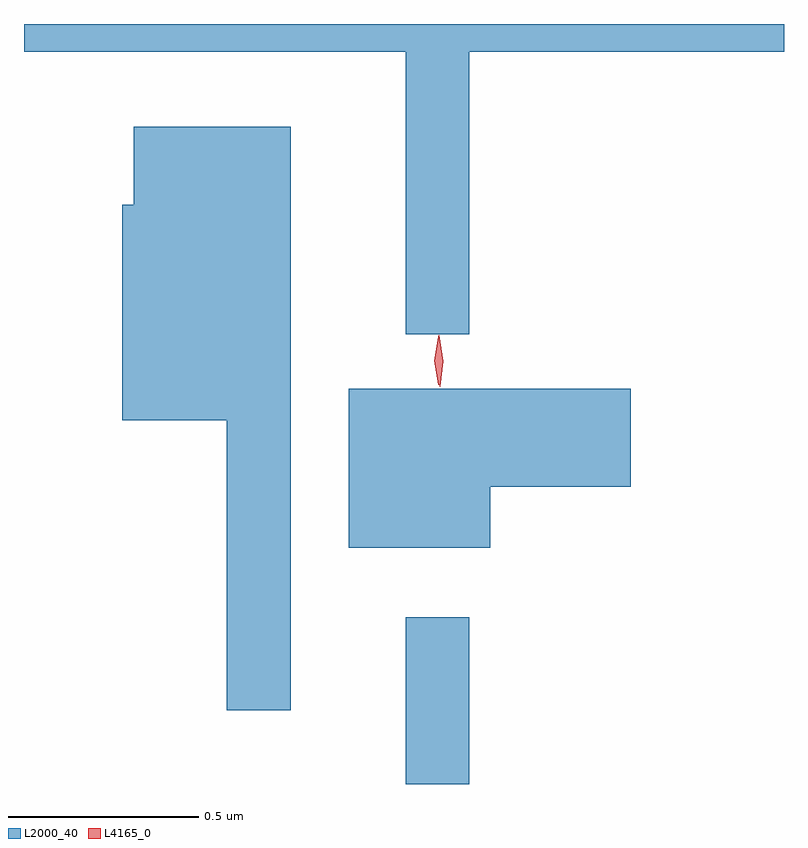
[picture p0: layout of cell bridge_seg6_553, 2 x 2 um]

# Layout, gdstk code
import gdstk
lib = gdstk.Library(unit=1e-6, precision=1e-09)
def R(c, l, rs):  # rectangles x0, y0, x1, y1
    for r in rs: c.add(gdstk.rectangle(r[:2], r[2:], *l))
def P(c, l, *ps):  # polygons
    for p in ps: c.add(gdstk.Polygon(p, *l))
L2000_40 = (2000, 40)
L4165_0 = (4165, 0)

bridge_seg6_553 = lib.new_cell('bridge_seg6_553')
R(bridge_seg6_553, L2000_40, [(513.861,1641.349,514.029,1641.788)])
P(bridge_seg6_553, L2000_40, [(514.029,1643.276),(514.857,1643.276),(514.857,1643.349),(512.857,1643.349),(512.857,1643.276),(513.861,1643.276),(513.861,1642.533),(514.029,1642.533)],
  [(513.559,1643.079),(513.146,1643.079),(513.146,1642.874),(513.116,1642.874),(513.116,1642.306),(513.391,1642.306),(513.391,1641.543),(513.559,1641.543)],
  [(514.084,1642.131),(514.454,1642.131),(514.454,1642.389),(513.711,1642.389),(513.711,1641.971),(514.084,1641.971)])
P(bridge_seg6_553, L4165_0, [(513.951,1642.394),(513.951,1642.394),(513.94,1642.462),(513.949,1642.53),(513.95,1642.53),(513.95,1642.53),(513.96,1642.462),(513.952,1642.394)],
  [(513.947,1642.4),(513.947,1642.4),(513.937,1642.463),(513.947,1642.526),(513.947,1642.527),(513.948,1642.526),(513.957,1642.463),(513.948,1642.4)])

lib.write_gds('bridge_seg6_553.gds')
